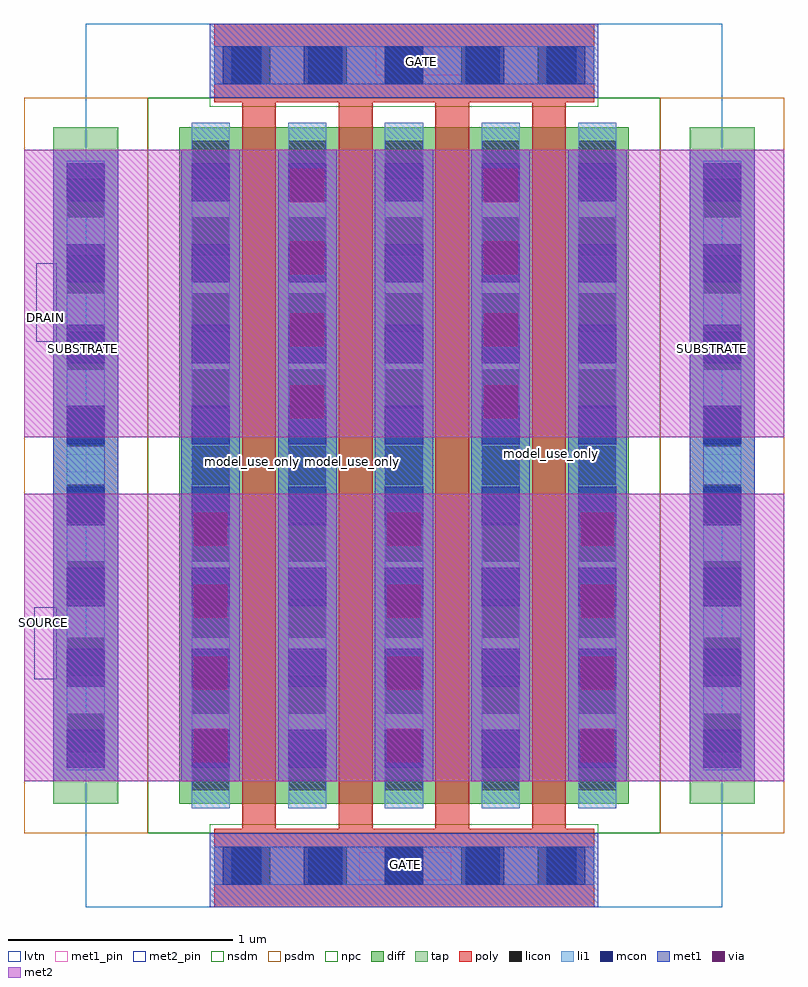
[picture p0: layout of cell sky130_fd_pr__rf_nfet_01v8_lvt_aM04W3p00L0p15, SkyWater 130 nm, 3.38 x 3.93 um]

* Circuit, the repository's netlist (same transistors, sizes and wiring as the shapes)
* Copyright 2020 The SkyWater PDK Authors
*
* Licensed under the Apache License, Version 2.0 (the "License");
* you may not use this file except in compliance with the License.
* You may obtain a copy of the License at
*
*     https://www.apache.org/licenses/LICENSE-2.0
*
* Unless required by applicable law or agreed to in writing, software
* distributed under the License is distributed on an "AS IS" BASIS,
* WITHOUT WARRANTIES OR CONDITIONS OF ANY KIND, either express or implied.
* See the License for the specific language governing permissions and
* limitations under the License.
*
* SPDX-License-Identifier: Apache-2.0


.subckt sky130_fd_pr__rf_nfet_01v8_lvt_aM04W3p00L0p15 DRAIN GATE SOURCE SUBSTRATE
X0 DRAIN GATE SOURCE SUBSTRATE sky130_fd_pr__nfet_01v8_lvt w=3.01e+06u l=150000u
X1 DRAIN GATE SOURCE SUBSTRATE sky130_fd_pr__nfet_01v8_lvt w=3.01e+06u l=150000u
X2 SOURCE GATE DRAIN SUBSTRATE sky130_fd_pr__nfet_01v8_lvt w=3.01e+06u l=150000u
X3 SOURCE GATE DRAIN SUBSTRATE sky130_fd_pr__nfet_01v8_lvt w=3.01e+06u l=150000u
.ends

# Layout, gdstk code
import gdstk
lib = gdstk.Library(unit=1e-6, precision=1e-09)
def R(c, l, rs):  # rectangles x0, y0, x1, y1
    for r in rs: c.add(gdstk.rectangle(r[:2], r[2:], *l))
def A(c, l, x, y, w, h, nx, ny, dx, dy):  # array of equal rectangles
    R(c, l, [(x+i*dx, y+j*dy, x+i*dx+w, y+j*dy+h) for i in range(nx) for j in range(ny)])
diff = (65, 20)
tap = (65, 44)
poly = (66, 20)
licon = (66, 44)
li1 = (67, 20)
mcon = (67, 44)
met1_pin = (68, 16)
met1 = (68, 20)
via = (68, 44)
met2_pin = (69, 16)
met2 = (69, 20)
nsdm = (93, 44)
psdm = (94, 20)
npc = (95, 20)
lvtn = (125, 44)

sky130_fd_pr__rf_nfet_01 = lib.new_cell('sky130_fd_pr__rf_nfet_01v8_lvt_aM04W3p00L0p15')
R(sky130_fd_pr__rf_nfet_01, diff, [(0.69,0.46,2.69,3.47)])
R(sky130_fd_pr__rf_nfet_01, tap, [(0.13,0.46,0.42,3.47), (2.96,0.46,3.25,3.47)])
A(sky130_fd_pr__rf_nfet_01, poly, 0.97, 0.35, 0.15, 3.23, 4, 1, 0.43, 0)
R(sky130_fd_pr__rf_nfet_01, poly, [(0.845,0,2.535,0.35), (0.845,3.58,2.535,3.93)])
A(sky130_fd_pr__rf_nfet_01, licon, 0.925, 0.1, 0.17, 0.17, 5, 2, 0.34, 3.56)
A(sky130_fd_pr__rf_nfet_01, licon, 0.745, 0.52, 0.17, 0.17, 5, 9, 0.43, 0.34)
A(sky130_fd_pr__rf_nfet_01, licon, 0.19, 0.69, 0.17, 0.17, 1, 8, 0, 0.34)
A(sky130_fd_pr__rf_nfet_01, licon, 3.02, 0.69, 0.17, 0.17, 1, 8, 0, 0.34)
A(sky130_fd_pr__rf_nfet_01, li1, 0.745, 0.44, 0.17, 3.05, 5, 1, 0.43, 0)
A(sky130_fd_pr__rf_nfet_01, li1, 0.745, 0.62, 0.17, 2.69, 5, 1, 0.43, 0)
R(sky130_fd_pr__rf_nfet_01, li1, [(0.845,0.1,2.535,0.27), (0.885,0.1,2.495,0.27), (0.19,0.61,0.36,3.32), (3.02,0.61,3.19,3.32), (0.19,0.62,0.36,3.31), (3.02,0.62,3.19,3.31), (0.845,3.66,2.535,3.83), (0.885,3.66,2.495,3.83)])
A(sky130_fd_pr__rf_nfet_01, mcon, 0.885, 0.1, 0.17, 0.17, 5, 2, 0.36, 3.56)
A(sky130_fd_pr__rf_nfet_01, mcon, 0.19, 0.62, 0.17, 0.17, 1, 8, 0, 0.36)
A(sky130_fd_pr__rf_nfet_01, mcon, 0.745, 0.62, 0.17, 0.17, 5, 8, 0.43, 0.36)
A(sky130_fd_pr__rf_nfet_01, mcon, 3.02, 0.62, 0.17, 0.17, 1, 8, 0, 0.36)
R(sky130_fd_pr__rf_nfet_01, met1_pin, [(1.49,0.12,1.9,0.245), (0.19,1.935,0.36,2.015), (3.02,1.935,3.19,2.015), (1.565,3.7,1.975,3.825)])
A(sky130_fd_pr__rf_nfet_01, met1, 0.7, 0.56, 0.26, 2.81, 5, 1, 0.43, 0)
A(sky130_fd_pr__rf_nfet_01, met1, 0.7, 0.56, 0.26, 1.28, 3, 1, 0.86, 0)
R(sky130_fd_pr__rf_nfet_01, met1, [(0.825,0,2.555,0.33), (0.13,0.56,0.42,3.37), (2.96,0.56,3.25,3.37), (1.13,2.09,1.39,3.37), (1.99,2.09,2.25,3.37), (0.825,3.6,2.555,3.93)])
A(sky130_fd_pr__rf_nfet_01, via, 0.755, 0.645, 0.15, 0.15, 3, 4, 0.86, 0.32)
A(sky130_fd_pr__rf_nfet_01, via, 1.185, 2.175, 0.15, 0.15, 1, 4, 0, 0.32)
A(sky130_fd_pr__rf_nfet_01, via, 2.045, 2.175, 0.15, 0.15, 1, 4, 0, 0.32)
R(sky130_fd_pr__rf_nfet_01, met2_pin, [(0.045,1.015,0.145,1.335), (0.055,2.515,0.145,2.865)])
A(sky130_fd_pr__rf_nfet_01, met2, 0.7, 0.56, 0.26, 1.28, 3, 1, 0.86, 0)
R(sky130_fd_pr__rf_nfet_01, met2, [(0,0.56,3.38,1.84), (0,2.09,3.38,3.37), (1.13,2.09,1.39,3.37), (1.99,2.09,2.25,3.37)])
R(sky130_fd_pr__rf_nfet_01, nsdm, [(0.55,0.33,2.83,3.6)])
R(sky130_fd_pr__rf_nfet_01, psdm, [(0,0.33,0.55,3.6), (2.83,0.33,3.38,3.6)])
R(sky130_fd_pr__rf_nfet_01, npc, [(0.825,0,2.555,0.37), (0.825,3.56,2.555,3.93)])
R(sky130_fd_pr__rf_nfet_01, lvtn, [(0.275,0,3.105,3.93)])
sky130_fd_pr__rf_nfet_01.add(gdstk.Label('model_use_only', (1.46,1.985), layer=66, texttype=83))
sky130_fd_pr__rf_nfet_01.add(gdstk.Label('model_use_only', (1.885,2.005), layer=66, texttype=83))
sky130_fd_pr__rf_nfet_01.add(gdstk.Label('model_use_only', (2.345,2.02), layer=66, texttype=83))
sky130_fd_pr__rf_nfet_01.add(gdstk.Label('model_use_only', (1.015,1.985), layer=66, texttype=83))
sky130_fd_pr__rf_nfet_01.add(gdstk.Label('S', (0.83,1.965), layer=83, texttype=44))
sky130_fd_pr__rf_nfet_01.add(gdstk.Label('S', (1.26,1.965), layer=83, texttype=44))
sky130_fd_pr__rf_nfet_01.add(gdstk.Label('S', (1.69,1.965), layer=83, texttype=44))
sky130_fd_pr__rf_nfet_01.add(gdstk.Label('S', (2.12,1.965), layer=83, texttype=44))
sky130_fd_pr__rf_nfet_01.add(gdstk.Label('S', (0.83,1.965), layer=83, texttype=44))
sky130_fd_pr__rf_nfet_01.add(gdstk.Label('D', (1.26,1.965), layer=83, texttype=44))
sky130_fd_pr__rf_nfet_01.add(gdstk.Label('S', (1.69,1.965), layer=83, texttype=44))
sky130_fd_pr__rf_nfet_01.add(gdstk.Label('D', (2.12,1.965), layer=83, texttype=44))
sky130_fd_pr__rf_nfet_01.add(gdstk.Label('S', (2.55,1.965), layer=83, texttype=44))
sky130_fd_pr__rf_nfet_01.add(gdstk.Label('SUBSTRATE', (0.265,2.485), layer=68, texttype=5))
sky130_fd_pr__rf_nfet_01.add(gdstk.Label('SUBSTRATE', (3.06,2.485), layer=68, texttype=5))
sky130_fd_pr__rf_nfet_01.add(gdstk.Label('GATE', (1.77,3.76), layer=68, texttype=5))
sky130_fd_pr__rf_nfet_01.add(gdstk.Label('GATE', (1.695,0.19), layer=68, texttype=5))
sky130_fd_pr__rf_nfet_01.add(gdstk.Label('DRAIN', (0.095,2.625), layer=69, texttype=5))
sky130_fd_pr__rf_nfet_01.add(gdstk.Label('SOURCE', (0.085,1.265), layer=69, texttype=5))

lib.write_gds('sky130_fd_pr__rf_nfet_01v8_lvt_aM04W3p00L0p15.gds')
